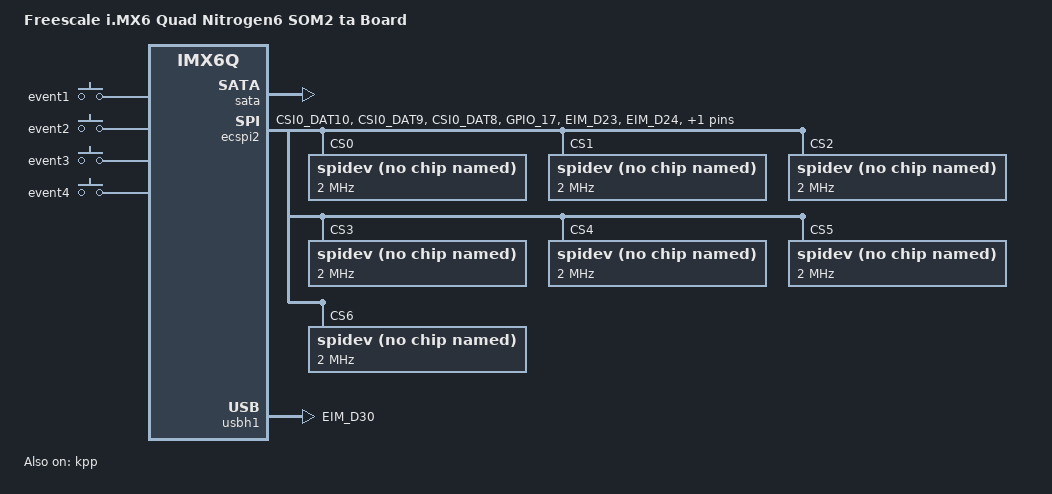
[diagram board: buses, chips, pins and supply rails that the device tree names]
/*
 * Copyright 2015 Boundary Devices
 * Copyright 2012 Freescale Semiconductor, Inc.
 * Copyright 2011 Linaro Ltd.
 *
 * The code contained herein is licensed under the GNU General Public
 * License. You may obtain a copy of the GNU General Public License
 * Version 2 or later at the following locations:
 *
 * http://www.opensource.org/licenses/gpl-license.html
 * http://www.gnu.org/copyleft/gpl.html
 */

/dts-v1/;

#include <dt-bindings/interrupt-controller/irq.h>
#include "imx6q.dtsi"
#include "imx6qdl-nitrogen6_som2.dtsi"

/ {
	model = "Freescale i.MX6 Quad Nitrogen6 SOM2 ta Board";
	compatible = "fsl,imx6q-nitrogen6_som2", "fsl,imx6q";
	/delete-node/ sound;
	/delete-node/ gpio-keys;
};

&sata {
	status = "okay";
};

&v4l2_cap_2 {
	ipu_id = <1>;
};

&iomuxc_imx6q_nitrogen6_som2 {
	pinctrl_ecspi2: ecspi2grp {
		fsl,pins = <
			MX6QDL_PAD_CSI0_DAT10__ECSPI2_MISO	0x100b1
			MX6QDL_PAD_CSI0_DAT9__ECSPI2_MOSI	0x100b1
			MX6QDL_PAD_CSI0_DAT8__ECSPI2_SCLK	0x000b1

#undef GP_ECSPI2_SS0
#if 0
#define GP_ECSPI2_SS0		<&gpio5 29 GPIO_ACTIVE_HIGH>
			MX6QDL_PAD_CSI0_DAT11__GPIO5_IO29	0x0b0b1
#else
#define GP_ECSPI2_SS0		<&gpio7 12 GPIO_ACTIVE_HIGH>
			MX6QDL_PAD_GPIO_17__GPIO7_IO12		0x0b0b1
#endif

#define GP_ECSPI2_MUX0		<&gpio3 23 GPIO_ACTIVE_HIGH>
			MX6QDL_PAD_EIM_D23__GPIO3_IO23		0x030b0
#define GP_ECSPI2_MUX1		<&gpio3 24 GPIO_ACTIVE_HIGH>
			MX6QDL_PAD_EIM_D24__GPIO3_IO24		0x030b0
#define GP_ECSPI2_MUX2		<&gpio3 25 GPIO_ACTIVE_HIGH>
			MX6QDL_PAD_EIM_D25__GPIO3_IO25		0x030b0
		>;
	};

	pinctrl_gpio_keys: gpio-keysgrp {
		fsl,pins = <
#define GP_GPIOKEY_MOTOR1		<&gpio2 1 GPIO_ACTIVE_LOW>
			MX6QDL_PAD_NANDF_D1__GPIO2_IO01		0x1b0b0
#define GP_GPIOKEY_MOTOR2		<&gpio2 2 GPIO_ACTIVE_LOW>
			MX6QDL_PAD_NANDF_D2__GPIO2_IO02		0x1b0b0
#define GP_GPIOKEY_MOTOR3		<&gpio2 3 GPIO_ACTIVE_LOW>
			MX6QDL_PAD_NANDF_D3__GPIO2_IO03		0x1b0b0
#define GP_GPIOKEY_MOTOR4		<&gpio2 4 GPIO_ACTIVE_LOW>
			MX6QDL_PAD_NANDF_D4__GPIO2_IO04		0x1b0b0
		>;
	};

	pinctrl_hog: hoggrp {
		fsl,pins = <
			/* LCD Display (4 Lines x 20 Characters) using GPIO */
#define GP_DISP_DB0		<&gpio3 0 GPIO_ACTIVE_HIGH>
			MX6QDL_PAD_EIM_DA0__GPIO3_IO00		0x0b0b0
#define GP_DISP_DB1		<&gpio3 1 GPIO_ACTIVE_HIGH>
			MX6QDL_PAD_EIM_DA1__GPIO3_IO01		0x0b0b0
#define GP_DISP_DB2		<&gpio3 2 GPIO_ACTIVE_HIGH>
			MX6QDL_PAD_EIM_DA2__GPIO3_IO02		0x0b0b0
#define GP_DISP_DB3		<&gpio3 3 GPIO_ACTIVE_HIGH>
			MX6QDL_PAD_EIM_DA3__GPIO3_IO03		0x0b0b0
#define GP_DISP_DB4		<&gpio3 4 GPIO_ACTIVE_HIGH>
			MX6QDL_PAD_EIM_DA4__GPIO3_IO04		0x0b0b0
#define GP_DISP_DB5		<&gpio3 5 GPIO_ACTIVE_HIGH>
			MX6QDL_PAD_EIM_DA5__GPIO3_IO05		0x0b0b0
#define GP_DISP_DB6		<&gpio3 6 GPIO_ACTIVE_HIGH>
			MX6QDL_PAD_EIM_DA6__GPIO3_IO06		0x0b0b0
#define GP_DISP_DB7		<&gpio3 7 GPIO_ACTIVE_HIGH>
			MX6QDL_PAD_EIM_DA7__GPIO3_IO07		0x0b0b0
#define GP_DISP_E		<&gpio3 8 GPIO_ACTIVE_HIGH>
			MX6QDL_PAD_EIM_DA8__GPIO3_IO08		0x0b0b0
#define GP_DISP_RS		<&gpio3 9 GPIO_ACTIVE_HIGH>
			MX6QDL_PAD_EIM_DA9__GPIO3_IO09		0x0b0b0
#define GP_DISP_RWn		<&gpio4 5 GPIO_ACTIVE_HIGH>
			MX6QDL_PAD_GPIO_19__GPIO4_IO05		0x0b0b0

			/* Stepper Motor Control Digital I/O */
#define GP_MOTOR_START		<&gpio2 6 GPIO_ACTIVE_HIGH>
			MX6QDL_PAD_NANDF_D6__GPIO2_IO06		0x0b0b0
#define GP_MOTOR_STOPL		<&gpio2 23 GPIO_ACTIVE_HIGH>
			MX6QDL_PAD_EIM_CS0__GPIO2_IO23		0x0b0b0
#define GP_MOTOR_STOPR		<&gpio2 25 GPIO_ACTIVE_HIGH>
			MX6QDL_PAD_EIM_OE__GPIO2_IO25		0x0b0b0
#define GP_MOTOR_N		<&gpio2 26 GPIO_ACTIVE_HIGH>
			MX6QDL_PAD_EIM_RW__GPIO2_IO26		0x0b0b0

#define GP_MOTOR_DIRECTION	<&gpio3 11 GPIO_ACTIVE_HIGH>
			MX6QDL_PAD_EIM_DA11__GPIO3_IO11		0x0b0b0
#define GP_MOTOR_HOME		<&gpio3 10 GPIO_ACTIVE_HIGH>
			MX6QDL_PAD_EIM_DA10__GPIO3_IO10		0x0b0b0
#define GP_MOTOR_FULL_STEP	<&gpio3 20 GPIO_ACTIVE_HIGH>
			MX6QDL_PAD_EIM_D20__GPIO3_IO20		0x0b0b0

			/* Heater Control Digital I/O */
#define GP_HEATER_A_1		<&gpio1 16 GPIO_ACTIVE_HIGH>
			MX6QDL_PAD_SD1_DAT0__GPIO1_IO16		0x0b0b0
#define GP_HEATER_A_2		<&gpio1 3 GPIO_ACTIVE_HIGH>
			MX6QDL_PAD_GPIO_3__GPIO1_IO03		0x0b0b0
#define GP_HEATER_B_1		<&gpio1 10 GPIO_ACTIVE_HIGH>
			MX6QDL_PAD_SD2_CLK__GPIO1_IO10		0x0b0b0
#define GP_HEATER_B_2		<&gpio1 14 GPIO_ACTIVE_HIGH>
			MX6QDL_PAD_SD2_DAT1__GPIO1_IO14		0x0b0b0
#define GP_HEATER_C_1		<&gpio5 30 GPIO_ACTIVE_HIGH>
			MX6QDL_PAD_CSI0_DAT12__GPIO5_IO30	0x0b0b0
#define GP_HEATER_C_2		<&gpio5 31 GPIO_ACTIVE_HIGH>
			MX6QDL_PAD_CSI0_DAT13__GPIO5_IO31	0x0b0b0

			/* Gas Valve Control Digital I/O */
#define GP_GAS_PURGE		<&gpio3 12 GPIO_ACTIVE_HIGH>
			MX6QDL_PAD_EIM_DA12__GPIO3_IO12		0x0b0b0

			/* Status LEDs Digital I/O */
#define GP_LED_RED		<&gpio5 18 GPIO_ACTIVE_LOW>
			MX6QDL_PAD_CSI0_PIXCLK__GPIO5_IO18	0x0b0b0
#define GP_LED_GREEN		<&gpio5 19 GPIO_ACTIVE_LOW>
			MX6QDL_PAD_CSI0_MCLK__GPIO5_IO19	0x0b0b0
#define GP_LED_YELLOW		<&gpio5 20 GPIO_ACTIVE_LOW>
			MX6QDL_PAD_CSI0_DATA_EN__GPIO5_IO20	0x0b0b0

			/* Auto Feeder Digital I/O */
#define GP_AF_1			<&gpio6 0 GPIO_ACTIVE_HIGH>
			MX6QDL_PAD_CSI0_DAT14__GPIO6_IO00	0x0b0b0
#define GP_AF_2			<&gpio6 1 GPIO_ACTIVE_HIGH>
			MX6QDL_PAD_CSI0_DAT15__GPIO6_IO01	0x0b0b0
#define GP_AF_3			<&gpio6 2 GPIO_ACTIVE_HIGH>
			MX6QDL_PAD_CSI0_DAT16__GPIO6_IO02	0x0b0b0
#define GP_AF_4			<&gpio6 3 GPIO_ACTIVE_HIGH>
			MX6QDL_PAD_CSI0_DAT17__GPIO6_IO03	0x0b0b0
#define GP_AF_5			<&gpio6 4 GPIO_ACTIVE_HIGH>
			MX6QDL_PAD_CSI0_DAT18__GPIO6_IO04	0x0b0b0
#define GP_AF_6			<&gpio6 5 GPIO_ACTIVE_HIGH>
			MX6QDL_PAD_CSI0_DAT19__GPIO6_IO05	0x0b0b0
#define GP_AF_7			<&gpio6 7 GPIO_ACTIVE_HIGH>
			MX6QDL_PAD_NANDF_CLE__GPIO6_IO07	0x0b0b0
#define GP_AF_EN		<&gpio6 9 GPIO_ACTIVE_HIGH>
			MX6QDL_PAD_NANDF_WP_B__GPIO6_IO09	0x0b0b0
		>;
	};

	pinctrl_keypad: keypadgrp {
		fsl,pins = <
				MX6QDL_PAD_KEY_COL3__KEY_COL3		0x1b0b0
				MX6QDL_PAD_KEY_COL4__KEY_COL4		0x1b0b0
				MX6QDL_PAD_GPIO_0__KEY_COL5		0x1b0b0
				MX6QDL_PAD_SD2_DAT3__KEY_COL6		0x1b0b0
				MX6QDL_PAD_SD2_CMD__KEY_ROW5		0x1b0b0
				MX6QDL_PAD_SD2_DAT2__KEY_ROW6		0x1b0b0
				MX6QDL_PAD_SD2_DAT0__KEY_ROW7		0x1b0b0
		>;
	};

	pinctrl_keypad_sleep: keypad_sleepgrp {
		fsl,pins = <
				MX6QDL_PAD_KEY_COL3__GPIO4_IO12		0x030b0
				MX6QDL_PAD_KEY_COL4__GPIO4_IO14		0x030b0
				MX6QDL_PAD_GPIO_0__GPIO1_IO00		0x030b0
				MX6QDL_PAD_SD2_DAT3__GPIO1_IO12		0x030b0
				MX6QDL_PAD_SD2_CMD__GPIO1_IO11		0x030b0
				MX6QDL_PAD_SD2_DAT2__GPIO1_IO13		0x030b0
				MX6QDL_PAD_SD2_DAT0__GPIO1_IO15		0x030b0
		>;
	};

	pinctrl_usbh1: usbh1grp {
		fsl,pins = <
			MX6QDL_PAD_EIM_D30__USB_H1_OC	0x1b0b0
		>;
	};

	pinctrl_usbotg: usbotggrp {
		fsl,pins = <
			MX6QDL_PAD_GPIO_1__USB_OTG_ID		0x17059
		>;
	};

};

/ {
	gpio-keys {
		compatible = "gpio-keys";
		pinctrl-names = "default";
		pinctrl-0 = <&pinctrl_gpio_keys>;

		event1 {
			label = "event1";
			gpios = GP_GPIOKEY_MOTOR1;
			linux,code = <KEY_NUMERIC_1>;
			gpio-key,wakeup;
		};

		event2 {
			label = "event2";
			gpios = GP_GPIOKEY_MOTOR2;
			linux,code = <KEY_NUMERIC_2>;
			gpio-key,wakeup;
		};

		event3 {
			label = "event3";
			gpios = GP_GPIOKEY_MOTOR3;
			linux,code = <KEY_NUMERIC_3>;
			gpio-key,wakeup;
		};

		event4 {
			label = "event4";
			gpios = GP_GPIOKEY_MOTOR4;
			linux,code = <KEY_NUMERIC_4>;
			gpio-key,wakeup;
		};
	};

};

&ecspi2 {
	cs-gpios = GP_ECSPI2_MUX0, GP_ECSPI2_MUX1, GP_ECSPI2_MUX2, GP_ECSPI2_SS0;
	fsl,spi-num-chipselects = <4>;
	idle-state = <15>;
	pinctrl-names = "default";
	pinctrl-0 = <&pinctrl_ecspi2>;
	status = "okay";

	spidev@0 {
		compatible = "spidev";
		spi-max-frequency = <2000000>;
		reg = <0>;
	};
	spidev@1 {
		compatible = "spidev";
		spi-max-frequency = <2000000>;
		reg = <1>;
	};
	spidev@2 {
		compatible = "spidev";
		spi-max-frequency = <2000000>;
		reg = <2>;
	};
	spidev@3 {
		compatible = "spidev";
		spi-max-frequency = <2000000>;
		reg = <3>;
	};
	spidev@4 {
		compatible = "spidev";
		spi-max-frequency = <2000000>;
		reg = <4>;
	};
	spidev@5 {
		compatible = "spidev";
		spi-max-frequency = <2000000>;
		reg = <5>;
	};
	spidev@6 {
		compatible = "spidev";
		spi-max-frequency = <2000000>;
		reg = <6>;
	};
};

&i2c1 {
	/delete-node/ sgtl5000@0a;
	/delete-node/ rv4162@68;
#if 0
	max5813@1f {
		/* adc converter, To do */
		compatible = "max5813";
		reg = <0x1f>;
	};
#endif
};

&i2c2 {
	status = "disabled";
	/delete-node/ edid@50;
	/delete-node/ ov5640_mipi@3d;
	/delete-node/ ov5642@3e;
	/delete-node/ tc358743_mipi@0f;
};

&i2c3 {
	/delete-node/ gt911@14;
	/delete-node/ gt911@5d;
	/delete-node/ ili210x@41;
	/delete-node/ tsc2004@48;
};

&pcie {
	status = "disabled";
};

&kpp {
	compatible = "fsl,imx6q-kpp", "fsl,imx21-kpp";
	clocks = <&clks IMX6QDL_CLK_IPG>;
	pinctrl-names = "default", "sleep";
	pinctrl-0 = <&pinctrl_keypad>;
	pinctrl-1 = <&pinctrl_keypad_sleep>;
	linux,keymap = <
		0x05030201	/* KEY_NUMERIC_1(0x201) */
		0x05040202	/* KEY_NUMERIC_2 */
		0x05050203	/* KEY_NUMERIC_3 */
		0x05060204	/* KEY_NUMERIC_4 */
		0x06030205	/* KEY_NUMERIC_5 */
		0x06040206	/* KEY_NUMERIC_6 */
		0x06050207	/* KEY_NUMERIC_7 */
		0x06060208	/* KEY_NUMERIC_8 */
		0x07030209	/* KEY_NUMERIC_9 */
		0x07040200	/* KEY_NUMERIC_0 */
		0x07050001	/* KEY_ESC */
		0x0706001c	/* KEY_ENTER(28)(0x1c) */
         >;
        status = "okay";
};

&uart3 {
	status = "disabled";
};

&usbh1 {
	pinctrl-names = "default";
	pinctrl-0 = <&pinctrl_usbh1>;
	/delete-property/ reset-gpios;
};

&usbotg {
	disable-over-current;
};

&usdhc2 {
	status = "disabled";
};
